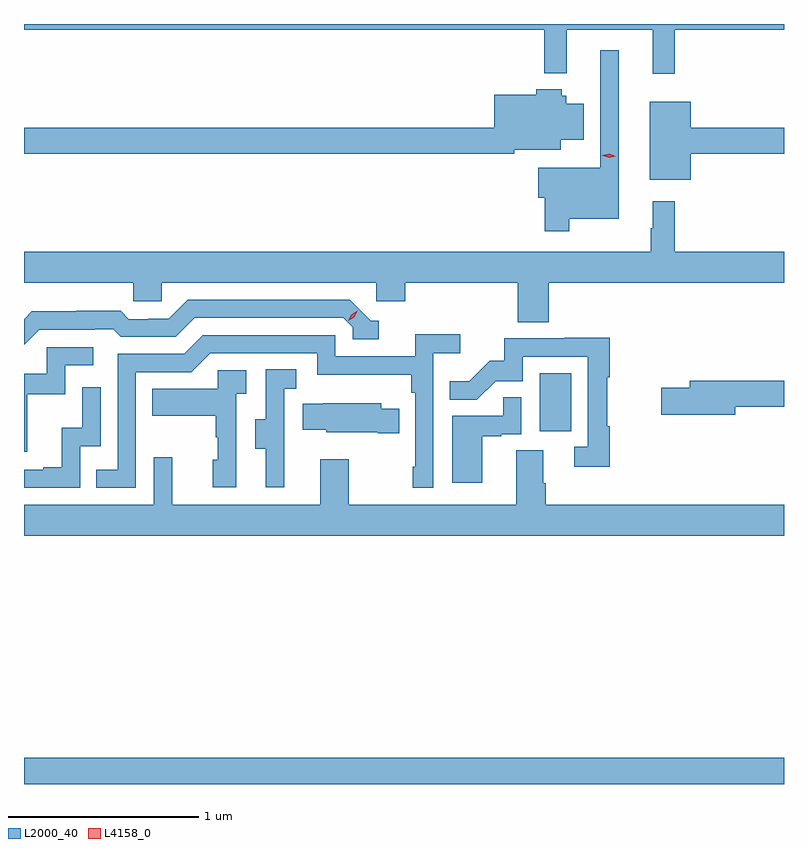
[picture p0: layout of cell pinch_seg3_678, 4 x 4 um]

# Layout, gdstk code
import gdstk
lib = gdstk.Library(unit=1e-6, precision=1e-09)
def R(c, l, rs):  # rectangles x0, y0, x1, y1
    for r in rs: c.add(gdstk.rectangle(r[:2], r[2:], *l))
def P(c, l, *ps):  # polygons
    for p in ps: c.add(gdstk.Polygon(p, *l))
L2000_40 = (2000, 40)
L4158_0 = (4158, 0)

pinch_seg3_678 = lib.new_cell('pinch_seg3_678')
R(pinch_seg3_678, L2000_40, [(1116.137,668.974,1120.137,669.112), (1118.852,670.83,1119.016,671.137)])
P(pinch_seg3_678, L2000_40, [(1119.563,672.944),(1120.137,672.944),(1120.137,672.974),(1116.137,672.974),(1116.137,672.944),(1118.875,672.944),(1118.875,672.716),(1118.993,672.716),(1118.993,672.944),(1119.446,672.944),(1119.446,672.711),(1119.563,672.711)],
  [(1119.007,671.948),(1119.268,671.948),(1119.268,672.835),(1119.171,672.835),(1119.171,672.217),(1118.844,672.217),(1118.844,672.059),(1118.878,672.059),(1118.878,671.883),(1119.007,671.883)],
  [(1118.716,672.311),(1118.962,672.311),(1118.962,672.365),(1119.082,672.365),(1119.082,672.553),(1118.992,672.553),(1118.992,672.597),(1118.968,672.597),(1118.968,672.631),(1118.834,672.631),(1118.834,672.601),(1118.612,672.601),(1118.612,672.428),(1116.137,672.428),(1116.137,672.292),(1118.716,672.292)],
  [(1119.646,672.292),(1120.137,672.292),(1120.137,672.428),(1119.646,672.428),(1119.646,672.565),(1119.431,672.565),(1119.431,672.155),(1119.646,672.155)],
  [(1118.9,671.612),(1120.137,671.612),(1120.137,671.776),(1119.563,671.776),(1119.563,672.04),(1119.446,672.04),(1119.446,671.9),(1119.435,671.9),(1119.435,671.776),(1116.137,671.776),(1116.137,671.612),(1116.711,671.612),(1116.711,671.514),(1116.861,671.514),(1116.861,671.612),(1117.992,671.612),(1117.992,671.514),(1118.144,671.514),(1118.144,671.612),(1118.735,671.612),(1118.735,671.404),(1118.9,671.404)],
  [(1116.216,671.364),(1116.509,671.364),(1116.509,671.367),(1116.608,671.367),(1116.647,671.328),(1116.936,671.328),(1117.035,671.427),(1117.818,671.427),(1117.866,671.379),(1117.866,671.316),(1118.005,671.316),(1118.005,671.412),(1117.962,671.412),(1117.851,671.523),(1116.998,671.523),(1116.899,671.424),(1116.792,671.424),(1116.792,671.421),(1116.689,671.421),(1116.647,671.464),(1116.414,671.464),(1116.414,671.461),(1116.178,671.461),(1116.137,671.42),(1116.137,671.285)],
  [(1116.726,671.142),(1117.017,671.142),(1117.116,671.241),(1117.68,671.241),(1117.68,671.129),(1118.176,671.129),(1118.176,671.033),(1118.196,671.033),(1118.196,670.645),(1118.184,670.645),(1118.184,670.533),(1118.292,670.533),(1118.292,671.24),(1118.434,671.24),(1118.434,671.342),(1118.195,671.342),(1118.195,671.226),(1117.776,671.226),(1117.776,671.337),(1117.079,671.337),(1116.98,671.238),(1116.63,671.238),(1116.63,670.629),(1116.517,670.629),(1116.517,670.533),(1116.726,670.533)],
  [(1119.221,670.856),(1119.206,670.856),(1119.206,671.116),(1119.221,671.116),(1119.221,671.324),(1118.983,671.324),(1118.983,671.319),(1118.665,671.319),(1118.665,671.202),(1118.588,671.202),(1118.481,671.095),(1118.377,671.095),(1118.377,670.996),(1118.521,670.996),(1118.619,671.094),(1118.763,671.094),(1118.763,671.223),(1119.105,671.223),(1119.105,670.749),(1119.033,670.749),(1119.033,670.644),(1119.221,670.644)],
  [(1116.155,671.025),(1116.354,671.025),(1116.354,671.178),(1116.502,671.178),(1116.502,671.274),(1116.258,671.274),(1116.258,671.133),(1116.137,671.133),(1116.137,670.722),(1116.155,670.722)],
  [(1117.508,670.749),(1117.506,670.749),(1117.506,671.053),(1117.57,671.053),(1117.57,671.156),(1117.41,671.156),(1117.41,670.893),(1117.355,670.893),(1117.355,670.738),(1117.409,670.738),(1117.409,670.536),(1117.508,670.536)],
  [(1117.254,671.027),(1117.306,671.027),(1117.306,671.151),(1117.158,671.151),(1117.158,671.053),(1116.811,671.053),(1116.811,670.913),(1117.146,670.913),(1117.146,670.799),(1117.156,670.799),(1117.156,670.68),(1117.13,670.68),(1117.13,670.536),(1117.254,670.536)],
  [(1119.88,670.96),(1120.137,670.96),(1120.137,671.096),(1119.641,671.096),(1119.641,671.06),(1119.492,671.06),(1119.492,670.918),(1119.88,670.918)],
  [(1116.432,670.752),(1116.54,670.752),(1116.54,671.062),(1116.444,671.062),(1116.444,670.85),(1116.335,670.85),(1116.335,670.642),(1116.239,670.642),(1116.239,670.629),(1116.137,670.629),(1116.137,670.533),(1116.432,670.533)],
  [(1118.548,670.803),(1118.648,670.803),(1118.648,670.815),(1118.754,670.815),(1118.754,671.009),(1118.659,671.009),(1118.659,670.911),(1118.39,670.911),(1118.39,670.56),(1118.548,670.56)],
  [(1118.111,670.948),(1118.017,670.948),(1118.017,670.978),(1117.711,670.978),(1117.711,670.975),(1117.603,670.975),(1117.603,670.838),(1117.728,670.838),(1117.728,670.826),(1118,670.826),(1118,670.819),(1118.111,670.819)],
  [(1120.137,670.444),(1118.882,670.444),(1118.882,670.556),(1118.869,670.556),(1118.869,670.73),(1118.729,670.73),(1118.729,670.444),(1117.845,670.444),(1117.845,670.684),(1117.697,670.684),(1117.697,670.444),(1116.917,670.444),(1116.917,670.693),(1116.819,670.693),(1116.819,670.444),(1116.137,670.444),(1116.137,670.28),(1120.137,670.28)])
P(pinch_seg3_678, L4158_0, [(1119.216,672.27),(1119.182,672.281),(1119.181,672.282),(1119.182,672.282),(1119.217,672.29),(1119.252,672.278),(1119.252,672.278),(1119.252,672.278)],
  [(1117.844,671.412),(1117.844,671.412),(1117.86,671.444),(1117.89,671.464),(1117.89,671.464),(1117.89,671.464),(1117.874,671.431),(1117.844,671.412)])

lib.write_gds('pinch_seg3_678.gds')
